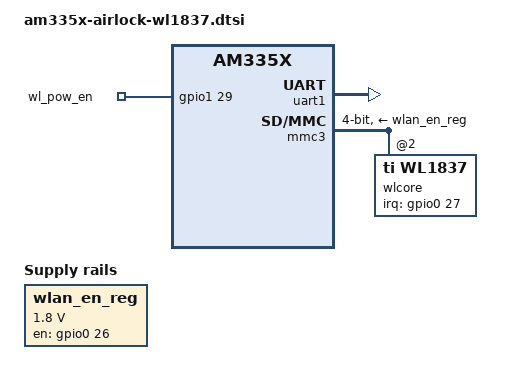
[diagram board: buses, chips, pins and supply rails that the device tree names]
#include <dt-bindings/interrupt-controller/irq.h>

/ {
	wlan_en_reg: fixedregulator@2 { 
		compatible = "regulator-fixed"; 
		regulator-name = "wlan-en-regulator"; 
		regulator-min-microvolt = <1800000>; 
		regulator-max-microvolt = <1800000>; 
		startup-delay-us= <350000>; 

		/* WL_EN */
		gpio = <&gpio0 26 0>;
		enable-active-high; 
	}; 


	leds {
		pinctrl-names = "default";
		pinctrl-0 = <&wlpower_pins>;
		compatible = "gpio-leds";
		wl18xx_pow_en {
			label = "wl_pow_en";
			gpios = <&gpio1 29 GPIO_ACTIVE_HIGH>;
			default-state = "off";
		};
	};


	tibt {
		compatible = "tibt";
		nshutdown_gpio = <60>;
		dev_name = "/dev/ttyS1";
		flow_cntrl = <1>;
		baud_rate = <115200>;
	};

	btwilink {
		compatible = "btwilink";
	};

};

&am33xx_pinmux {
/*	pinctrl-0 = <&clkout2_pin>; ---TODO check this!!! */
	
	uart1_pins_default: pinmux_uart1_pins_default {
		pinctrl-single,pins = <
			0x180 ( PIN_INPUT  | MUX_MODE0 ) /* (D16) uart1_rxd.uart1_rxd */
			0x184 ( PIN_OUTPUT | MUX_MODE0 ) /* (D15) uart1_txd.uart1_txd */
			0x178 ( PIN_INPUT  | MUX_MODE0 ) /* (D18) uart1_ctsn.uart1_ctsn */
			0x17c ( PIN_OUTPUT_PULLDOWN | MUX_MODE0 ) /* (D17) uart1_rtsn.uart1_rtsn */
		>;
	};

	uart1_pins_sleep: pinmux_uart1_pins_sleep {
		pinctrl-single,pins = <
			0x180 ( PIN_INPUT  | MUX_MODE0 ) /* (D16) uart1_rxd.uart1_rxd */
			0x184 ( PIN_OUTPUT | MUX_MODE0 ) /* (D15) uart1_txd.uart1_txd */
			0x178 ( PIN_INPUT  | MUX_MODE0 ) /* (D18) uart1_ctsn.uart1_ctsn */
			0x17c ( PIN_OUTPUT | MUX_MODE0 ) /* (D17) uart1_rtsn.uart1_rtsn  */
		>;
	};

	bt_pins_default: pinmux_bt_pins_default { 
		pinctrl-single,pins = < 
			0x78 (PIN_OUTPUT_PULLUP | MUX_MODE7)	/* gpmc_ad12.gpio1_28 BT_EN*/
		>; 
	}; 	

	bt_pins_sleep: pinmux_bt_pins_sleep { 
		pinctrl-single,pins = < 
			0x78 (PIN_OUTPUT_PULLUP | MUX_MODE7) /*  gpmc_ad12.gpio1_28 BT_EN*/
		>;
	}; 

	mmc3_pins: pinmux_mmc3_pins {
		pinctrl-single,pins = <
			0x8c ( PIN_INPUT_PULLUP | MUX_MODE3 ) /* gpio2_1 gpmc_clk.mmc2_clk */
			0x88 ( PIN_INPUT_PULLUP | MUX_MODE3 ) /* gpio2_0 gpmc_csn3.mmc2_cmd */
			0x30 ( PIN_INPUT_PULLUP | MUX_MODE3 ) /* gpio1_12 gpmc_ad12.mmc2_dat0 */
			0x34 ( PIN_INPUT_PULLUP | MUX_MODE3 ) /* gpio1_13 gpmc_ad13.mmc2_dat1 */
			0x38 ( PIN_INPUT_PULLUP | MUX_MODE3 ) /* gpio1_14 gpmc_ad14.mmc2_dat2 */
			0x3c ( PIN_INPUT_PULLUP | MUX_MODE3 ) /* gpio1_15 gpmc_ad15.mmc2_dat3 */
		>;
	};

	mmc3_pins_sleep: pinmux_mmc3_pins_sleep {
		pinctrl-single,pins = <
			0x8c (PIN_INPUT_PULLDOWN | MUX_MODE7) /* gpio2_1 gpmc_clk.mmc2_clk */
			0x88 (PIN_INPUT_PULLDOWN | MUX_MODE7) /* gpio2_0 gpmc_csn3.mmc2_cmd */
			0x30 (PIN_INPUT_PULLDOWN | MUX_MODE7) /* gpio1_12 gpmc_ad12.mmc2_dat0 */
			0x34 (PIN_INPUT_PULLDOWN | MUX_MODE7) /* gpio1_13 gpmc_ad13.mmc2_dat1 */
			0x38 (PIN_INPUT_PULLDOWN | MUX_MODE7) /* gpio1_14 gpmc_ad14.mmc2_dat2 */
			0x3c (PIN_INPUT_PULLDOWN | MUX_MODE7) /* gpio1_15 gpmc_ad15.mmc2_dat3 */
		>;
	};

	/* wl18xx card enable/irq GPIOs. */
	wlan_pins: pinmux_wlan_pins {
		pinctrl-single,pins = <
			0x28 (PIN_OUTPUT_PULLDOWN | MUX_MODE7)	/* gpmc_ad10.gpio0_26 WL_EN*/
			0x2C (PIN_INPUT_PULLDOWN | MUX_MODE7)	/* gpmc_ad11.gpio0_27 WL_IRQ*/
		>;
	};

	/* wl18xx card enable/irq GPIOs. */
	wlan_pins_sleep: pinmux_wlan_pins_sleep {
		pinctrl-single,pins = <
			0x28 (PIN_OUTPUT_PULLDOWN | MUX_MODE7)	/* gpmc_ad10.gpio0_26 WL_EN*/
			0x2C (PIN_INPUT_PULLDOWN | MUX_MODE7)	/* gpmc_ad11.gpio0_27 WL_IRQ*/
		>;
	};

	wlpower_pins: pinmux_wlpower_pins {
		pinctrl-single,pins = <
			0x7C (PIN_OUTPUT_PULLUP | MUX_MODE7)   /* gpmc_csn0.gpio1_29 WLPOW_EN */
		>;
	};

};

&uart1 {
	pinctrl-names = "default","sleep";
	pinctrl-0 = <&uart1_pins_default>; 
	pinctrl-1 = <&uart1_pins_sleep>; 
	status = "okay";
};


&mmc3 {
	dmas = <&edma_xbar 12 0 1
		&edma_xbar 13 0 2>;
	dma-names = "tx", "rx";
	status = "okay";
	vmmc-supply = <&wlan_en_reg>; 
	bus-width = <4>;
	pinctrl-names = "default","sleep";
	pinctrl-0 = <&mmc3_pins &wlan_pins>;
	pinctrl-1 = <&mmc3_pins_sleep &wlan_pins_sleep>;  
	ti,non-removable;
	ti,needs-special-hs-handling;
	cap-power-off-card;
	keep-power-in-suspend;

	#address-cells = <1>;
	#size-cells = <0>;
	wlcore: wlcore@0 {
		compatible = "ti,wl1837";
		reg = <2>;
		interrupt-parent = <&gpio0>;
		interrupts = <27 IRQ_TYPE_EDGE_RISING>;
	};
};

